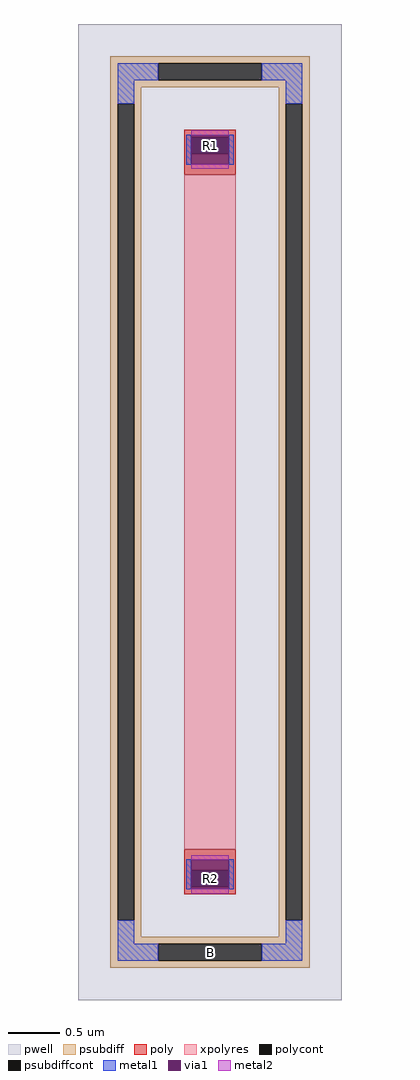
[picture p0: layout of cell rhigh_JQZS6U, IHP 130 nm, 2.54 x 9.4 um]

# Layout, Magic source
magic
tech ihp-sg13g2
magscale 1 2
<< pwell >>
rect -254 -940 254 940
<< psubdiff >>
rect -192 864 192 878
rect -192 832 -100 864
rect 100 832 192 864
rect -192 818 192 832
rect -192 786 -132 818
rect -192 -786 -178 786
rect -146 -786 -132 786
rect 132 786 192 818
rect -192 -818 -132 -786
rect 132 -786 146 786
rect 178 -786 192 786
rect 132 -818 192 -786
rect -192 -832 192 -818
rect -192 -864 -100 -832
rect 100 -864 192 -832
rect -192 -878 192 -864
<< psubdiffcont >>
rect -100 832 100 864
rect -178 -786 -146 786
rect 146 -786 178 786
rect -100 -864 100 -832
<< poly >>
rect -50 722 50 736
rect -50 690 -36 722
rect 36 690 50 722
rect -50 650 50 690
rect -50 -690 50 -650
rect -50 -722 -36 -690
rect 36 -722 50 -690
rect -50 -736 50 -722
<< polycont >>
rect -36 690 36 722
rect -36 -722 36 -690
<< xpolyres >>
rect -50 -650 50 650
<< metal1 >>
rect -178 832 -100 864
rect 100 832 178 864
rect -178 786 -146 832
rect 146 786 178 832
rect -46 726 46 727
rect -46 670 -36 726
rect 36 670 46 726
rect -46 669 46 670
rect -46 -670 46 -669
rect -46 -726 -36 -670
rect 36 -726 46 -670
rect -46 -727 46 -726
rect -178 -832 -146 -786
rect 146 -832 178 -786
rect -178 -864 -100 -832
rect 100 -864 178 -832
<< via1 >>
rect -36 722 36 726
rect -36 690 36 722
rect -36 670 36 690
rect -36 -690 36 -670
rect -36 -722 36 -690
rect -36 -726 36 -722
<< metal2 >>
rect -36 726 36 735
rect -36 661 36 670
rect -36 -670 36 -661
rect -36 -735 36 -726
<< labels >>
rlabel psubdiffcont 0 -848 0 -848 0 B
port 1 nsew
rlabel polycont 0 706 0 706 0 R1
port 2 nsew
rlabel polycont 0 -706 0 -706 0 R2
port 3 nsew
<< properties >>
string FIXED_BBOX -162 -848 162 848
string gencell rhigh
string library sg13g2
string parameters w 0.50 l 6.5 m 1 nx 1 wmin 0.50 lmin 0.50 class resistor rho 1360 val 17.68k dummy 0 dw 0.0 term 0.0 sterm 0.0 caplen 0 guard 1 glc 1 grc 1 gtc 1 gbc 1 snake 0 full_metal 1 n_guard 0 hv_guard 0 vias 1 viagb 0 viagt 0 viagl 0 viagr 0 doports 1
<< end >>
